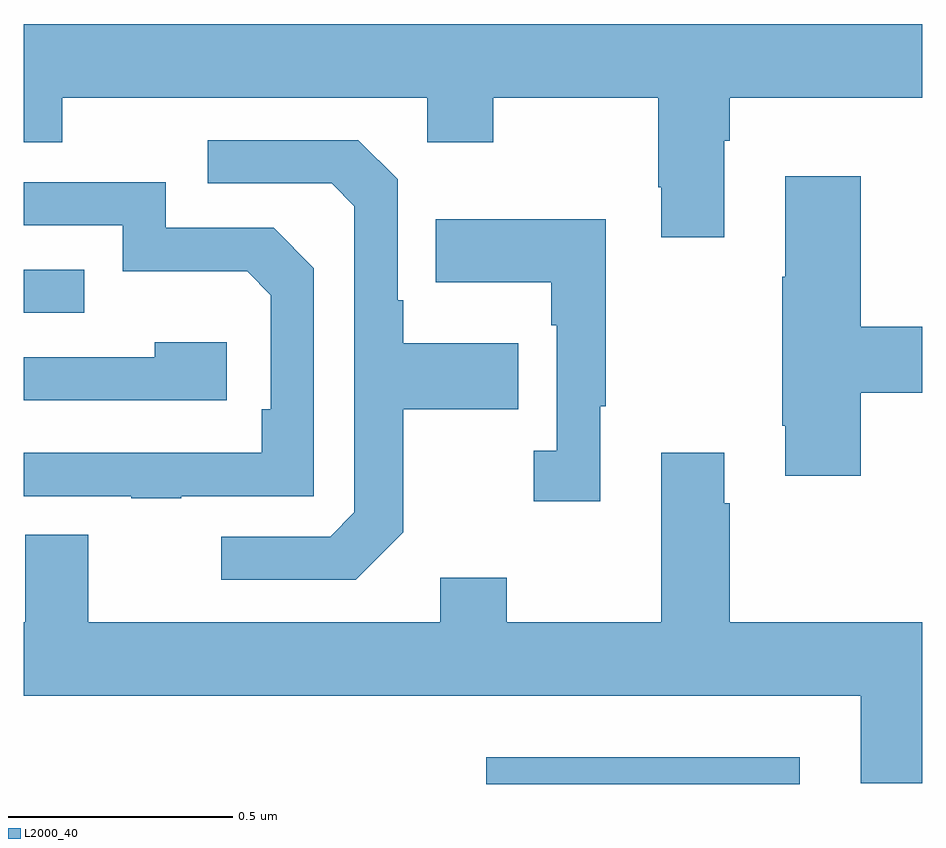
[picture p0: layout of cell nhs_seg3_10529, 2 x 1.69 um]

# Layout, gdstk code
import gdstk
lib = gdstk.Library(unit=1e-6, precision=1e-09)
def R(c, l, rs):  # rectangles x0, y0, x1, y1
    for r in rs: c.add(gdstk.rectangle(r[:2], r[2:], *l))
def P(c, l, *ps):  # polygons
    for p in ps: c.add(gdstk.Polygon(p, *l))
L2000_40 = (2000, 40)

nhs_seg3_10529 = lib.new_cell('nhs_seg3_10529')
R(nhs_seg3_10529, L2000_40, [(243.03,687.4,243.727,687.46), (242,688.449,242.135,688.545)])
P(nhs_seg3_10529, L2000_40, [(243.559,688.832),(243.572,688.832),(243.572,688.928),(244,688.928),(244,689.092),(242,689.092),(242,688.829),(242.085,688.829),(242.085,688.928),(242.898,688.928),(242.898,688.829),(243.045,688.829),(243.045,688.928),(243.412,688.928),(243.412,688.729),(243.419,688.729),(243.419,688.617),(243.559,688.617)],
  [(242.845,687.961),(242.845,688.234),(243.101,688.234),(243.101,688.381),(242.845,688.381),(242.845,688.477),(242.832,688.477),(242.832,688.746),(242.745,688.833),(242.409,688.833),(242.409,688.737),(242.685,688.737),(242.736,688.686),(242.736,688.005),(242.682,687.951),(242.439,687.951),(242.439,687.855),(242.739,687.855)],
  [(243.863,688.271),(244,688.271),(244,688.418),(243.863,688.418),(243.863,688.753),(243.695,688.753),(243.695,688.529),(243.688,688.529),(243.688,688.198),(243.695,688.198),(243.695,688.086),(243.863,688.086)],
  [(242.351,688.041),(242.646,688.041),(242.646,688.548),(242.556,688.638),(242.316,688.638),(242.316,688.74),(242,688.74),(242,688.644),(242.22,688.644),(242.22,688.541),(242.497,688.541),(242.55,688.488),(242.55,688.234),(242.53,688.234),(242.53,688.137),(242,688.137),(242,688.041),(242.239,688.041),(242.239,688.036),(242.351,688.036)],
  [(243.283,688.241),(243.295,688.241),(243.295,688.657),(242.917,688.657),(242.917,688.517),(243.174,688.517),(243.174,688.421),(243.186,688.421),(243.186,688.142),(243.135,688.142),(243.135,688.029),(243.283,688.029)],
  [(242.452,688.384),(242.291,688.384),(242.291,688.35),(242,688.35),(242,688.254),(242.452,688.254)],
  [(244,687.76),(243.572,687.76),(243.572,688.025),(243.559,688.025),(243.559,688.138),(243.419,688.138),(243.419,687.76),(243.075,687.76),(243.075,687.859),(242.927,687.859),(242.927,687.76),(242.143,687.76),(242.143,687.955),(242.003,687.955),(242.003,687.76),(242,687.76),(242,687.596),(243.863,687.596),(243.863,687.402),(244,687.402)])

lib.write_gds('nhs_seg3_10529.gds')
